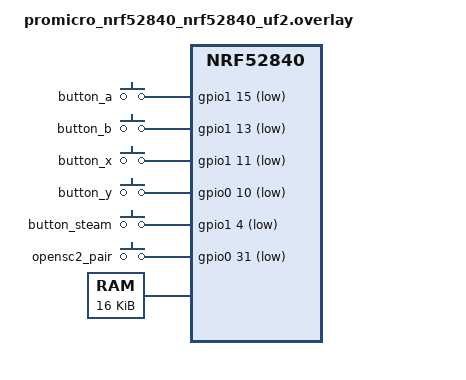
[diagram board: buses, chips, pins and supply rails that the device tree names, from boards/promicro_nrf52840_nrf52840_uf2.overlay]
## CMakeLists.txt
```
# Copyright (c) 2026 the OpenSC2-Controller authors
# SPDX-License-Identifier: MIT
cmake_minimum_required(VERSION 3.20.0)

# The OpenSC2 library is a Zephyr module: the OpenSC2-Controller repository. This project finds it
# in one of these places:
#  1. your west workspace, when your west.yml lists it: nothing to do here;
#  2. ZEPHYR_EXTRA_MODULES, in the environment or as -DZEPHYR_EXTRA_MODULES=<folder>;
#  3. a git submodule (or a copy) at modules/opensc2 in this folder;
#  4. the OpenSC2-Controller repository around this folder (template/ as shipped).
# docs/integration.md in the OpenSC2-Controller repository explains each way. A module found
# twice is harmless (Zephyr keys modules by name).
if(EXISTS ${CMAKE_CURRENT_LIST_DIR}/modules/opensc2/zephyr/module.yml)
  list(APPEND ZEPHYR_EXTRA_MODULES ${CMAKE_CURRENT_LIST_DIR}/modules/opensc2)
elseif(EXISTS ${CMAKE_CURRENT_LIST_DIR}/../zephyr/module.yml AND
       EXISTS ${CMAKE_CURRENT_LIST_DIR}/../include/opensc2/opensc2.h)
  list(APPEND ZEPHYR_EXTRA_MODULES ${CMAKE_CURRENT_LIST_DIR}/..)
endif()

find_package(Zephyr REQUIRED HINTS $ENV{ZEPHYR_BASE})
# Rename the project if you like; the build names the .uf2's folder after this folder, not after
# the project.
project(my_controller LANGUAGES C)

target_sources(app PRIVATE src/main.c)
```

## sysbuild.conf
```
# Copyright (c) 2026 the OpenSC2-Controller authors
# SPDX-License-Identifier: MIT
#
# The Partition Manager (the nRF Connect SDK's default for nRF chips) would ignore the board's flash
# partitions: the application would not land at the UF2 bootloader's application address, and the
# settings could end up inside the bootloader. Use the devicetree partitions.
SB_CONFIG_PARTITION_MANAGER=n
```

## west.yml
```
# Your project as a west workspace with nRF Connect SDK v3.4.0 and OpenSC2.
# From the folder that holds this project (here my-controller):
#   west init -l my-controller
#   west update -o=--depth=1 -n
#   west build -b promicro_nrf52840/nrf52840/uf2 -d build/my-controller my-controller
# Set self.path to your folder's name.
manifest:
  remotes:
    - name: ncs
      url-base: https://github.com/nrfconnect
    - name: ded811
      url-base: https://github.com/ded811
  projects:
    - name: nrf
      repo-path: sdk-nrf
      remote: ncs
      revision: v3.4.0
      import: true
    - name: opensc2
      repo-path: OpenSC2-Controller
      remote: ded811
      revision: v0.2.0   # a release tag; the repository's releases page lists the newest
      path: modules/lib/opensc2
  self:
    path: my-controller
```

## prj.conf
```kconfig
# Copyright (c) 2026 the OpenSC2-Controller authors
# SPDX-License-Identifier: MIT
#
# The Kconfig of your controller, for any board. Lines for one board go in boards/<board>.conf
# (the SuperMini's: its clock), its pins in boards/<board>.overlay. Every OpenSC2 option is in
# docs/api.md of the OpenSC2-Controller repository (Kconfig options).

# ---- the library ------------------------------------------------------------------------------
# OpenSC2 itself. It selects the nRF Connect SDK's Enhanced ShockBurst, the puck's radio link.
CONFIG_OPENSC2=y
# The puck sends packets of up to 128 bytes (checked at build time); the real controller keeps two
# replies queued.
CONFIG_ESB_MAX_PAYLOAD_LENGTH=128
CONFIG_ESB_TX_FIFO_SIZE=2

# ---- inputs -----------------------------------------------------------------------------------
# The buttons are a gpio-keys node in the overlay, read through Zephyr's input subsystem.
CONFIG_GPIO=y
CONFIG_INPUT=y

# ---- wired mode: the board as a USB Steam Controller 2 (28DE:1302) ------------------------------
# On by itself when the overlay chooses the HID node (opensc2,usb-hid). The library runs the USB
# device, so the board's own serial port must not start at boot (checked at build time); in
# wireless mode the library shows the serial console instead.
CONFIG_CDC_ACM_SERIAL_INITIALIZE_AT_BOOT=n
# Eight input reports may wait for the PC at once, as on the real controller.
CONFIG_USBD_HID_IN_BUF_COUNT=8
# Vendor commands that write flash (Steam's bond) run in the USB stack's thread (checked at build
# time); the library's other wired-mode work runs in the system work queue.
CONFIG_USBD_THREAD_STACK_SIZE=2048
CONFIG_SYSTEM_WORKQUEUE_STACK_SIZE=2048

# ---- storage: the bonds, the identity and the mode policy survive a reboot ----------------------
# Zephyr settings on NVS, in the board's storage partition. Steam pairs the board over the cable
# and then reboots it into wireless mode: without these lines the pairing is lost on the way (the
# build warns).
CONFIG_FLASH=y
CONFIG_FLASH_MAP=y
CONFIG_NVS=y
CONFIG_SETTINGS=y
CONFIG_SETTINGS_NVS=y

# ---- log and shell ------------------------------------------------------------------------------
# In wireless mode both are on the USB serial port ("OpenSC2 console"): opensc2 status, opensc2
# bonds and the other opensc2 commands. While wired the log goes into the USB session log, written
# by the log thread, which then needs more than its default stack (checked at build time).
CONFIG_LOG=y
CONFIG_LOG_PROCESS_THREAD_STACK_SIZE=1536
CONFIG_SHELL=y
CONFIG_LOG_BACKEND_UART=n
CONFIG_SHELL_PROMPT_UART="opensc2:~$ "

# ---- main ---------------------------------------------------------------------------------------
# main() keeps running (it drives the status LED): give it room, and a priority below the
# library's radio and USB threads (5).
CONFIG_MAIN_STACK_SIZE=2048
CONFIG_MAIN_THREAD_PRIORITY=7

# ---- identity (optional) ------------------------------------------------------------------------
# What Steam reads as the firmware revision: 1 to 12 characters, no spaces. The default is the
# library's release ("osc2-X.Y.Z").
#CONFIG_OPENSC2_GIT_REVISION="my-ctrl-1.0"

# ---- hardware test hooks (optional) -------------------------------------------------------------
# For OpenSC2's hardware test suite (tools/hwtest). The suite was written for and run against
# app/; with the hooks it may work with your firmware too, not tried. Inert until the suite arms
# them; leave them off in a board you give to someone else.
#CONFIG_OPENSC2_TEST_HOOKS=y
```

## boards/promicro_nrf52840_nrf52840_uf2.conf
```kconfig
# Copyright (c) 2026 the OpenSC2-Controller authors
# SPDX-License-Identifier: MIT
#
# SuperMini / Pro Micro nRF52840: no 32.768 kHz crystal, so the internal RC oscillator, calibrated.
# Zephyr reads this file after prj.conf when it builds for this board target; for another board,
# give it a file named after that board target (or none).
CONFIG_CLOCK_CONTROL_NRF_K32SRC_RC=y
CONFIG_CLOCK_CONTROL_NRF_K32SRC_RC_CALIBRATION=y
```

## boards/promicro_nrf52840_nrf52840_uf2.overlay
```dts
/*
 * Copyright (c) 2026 the OpenSC2-Controller authors
 * SPDX-License-Identifier: MIT
 *
 * Your controller's pins on the SuperMini nRF52840 (a Pro Micro-sized board with the nice!nano
 * pinout and the Adafruit nRF52 UF2 bootloader). Zephyr reads this file when it builds for the
 * board target promicro_nrf52840/nrf52840/uf2. For another board, copy it to
 * boards/<board target with / turned into _>.overlay and change the pins (docs/porting.md).
 *
 * The buttons use the same pins as app/, so wiring carries over. Wire each button between its pin
 * and GND: the internal pull-up keeps it released. Silkscreen labels: "006" is P0.06, "111" is
 * P1.11, and so on. The on-board LED (led0, P0.15) is the status LED (src/main.c).
 */
#include <dt-bindings/opensc2/inputs.h>

/ {
	/* ---- Buttons ----------------------------------------------------------------------------
	 * Read through Zephyr's input subsystem (gpio-keys). zephyr,code is the bit of the Steam
	 * Controller 2's button word that the button sets (OPENSC2_KEY_* in
	 * dt-bindings/opensc2/inputs.h); src/main.c turns each event into that bit. Add a child for
	 * another button, delete one you do not wire.
	 */
	opensc2_buttons: opensc2_buttons {
		compatible = "gpio-keys";
		debounce-interval-ms = <5>;

		button_a {
			gpios = <&gpio1 15 (GPIO_PULL_UP | GPIO_ACTIVE_LOW)>;   /* P1.15 */
			zephyr,code = <OPENSC2_KEY_A>;
		};
		button_b {
			gpios = <&gpio1 13 (GPIO_PULL_UP | GPIO_ACTIVE_LOW)>;   /* P1.13 */
			zephyr,code = <OPENSC2_KEY_B>;
		};
		button_x {
			gpios = <&gpio1 11 (GPIO_PULL_UP | GPIO_ACTIVE_LOW)>;   /* P1.11 */
			zephyr,code = <OPENSC2_KEY_X>;
		};
		button_y {
			gpios = <&gpio0 10 (GPIO_PULL_UP | GPIO_ACTIVE_LOW)>;   /* P0.10 */
			zephyr,code = <OPENSC2_KEY_Y>;
		};
		button_steam {
			gpios = <&gpio1 4 (GPIO_PULL_UP | GPIO_ACTIVE_LOW)>;    /* P1.04 */
			zephyr,code = <OPENSC2_KEY_STEAM>;
		};

		/* The pairing button. Held while plugging in: this boot is wireless. Pressed and
		 * released while wired: the board reboots into wireless mode. Pressed while
		 * wireless: it answers an open pairing window (untested with Steam).
		 * OPENSC2_KEY_PAIR is not a bit of the button word; src/main.c handles it, and
		 * finds the pin by its label. */
		opensc2_pair: pair {
			gpios = <&gpio0 31 (GPIO_PULL_UP | GPIO_ACTIVE_LOW)>;   /* P0.31 */
			zephyr,code = <OPENSC2_KEY_PAIR>;
		};

		/* A digital trigger: a button with OPENSC2_KEY_RIGHT_TRIGGER_CLICK (or _LEFT_)
		 * reads as that trigger pulled all the way (src/main.c). For example, on the
		 * bottom pad P1.01:
		 * trigger_r {
		 *	gpios = <&gpio1 1 (GPIO_PULL_UP | GPIO_ACTIVE_LOW)>;
		 *	zephyr,code = <OPENSC2_KEY_RIGHT_TRIGGER_CLICK>;
		 * };
		 * Sticks, analog triggers, trackpads, an IMU, rumble and an RGB LED: app/'s
		 * overlay and the samples show each part. Buttons need no VCC; potentiometers
		 * powered from the VCC pin do (app/'s overlay, vcc-enable-gpios).
		 */
	};

	/* ---- Wired mode -------------------------------------------------------------------------
	 * The USB HID function of the wired Steam Controller 2 (64-byte reports, every 1 ms), and
	 * 16 KB of RAM that a soft reset keeps (the warm-restart mark of Steam's "reboot into
	 * wireless mode", the USB session log), clear of the RAM the UF2 bootloader uses at every
	 * reset (docs/porting.md). The address is the SuperMini's choice: on another board, keep
	 * the region clear of its bootloader's RAM.
	 */
	chosen {
		opensc2,usb-hid = &opensc2_hid;
		opensc2,retained-ram = &opensc2_retained;
	};

	opensc2_hid: opensc2_hid {
		compatible = "zephyr,hid-device";
		in-report-size = <64>;
		in-polling-period-us = <1000>;
		out-report-size = <64>;
		out-polling-period-us = <1000>;
	};

	opensc2_retained: memory@2002c000 {
		compatible = "zephyr,memory-region", "mmio-sram";
		reg = <0x2002c000 DT_SIZE_K(16)>;
		zephyr,memory-region = "OPENSC2_RETAINED";
	};
};

/* The application's RAM ends below the retained area (176 KB of the 256; the top 64 KB stay
 * unused). */
&sram0 {
	reg = <0x20000000 DT_SIZE_K(176)>;
};

/* The board's files turn these on, on pins this overlay uses: uart0 on P0.09 and P0.10 (Y), i2c1
 * on P1.04 (STEAM) and P1.06, pwm0 on the LED pin P0.15, and i2c0 (P1.00, P0.11) and spi2 (P1.01,
 * P1.02, P1.07) on pins app/ gives to buttons. Switched off, every pin is free for buttons;
 * re-enable what you use, on pins of your choice. The log and the shell are on the USB serial
 * port (in wireless mode). */
&uart0 { status = "disabled"; };
&i2c0 { status = "disabled"; };
&i2c1 { status = "disabled"; };
&spi2 { status = "disabled"; };
&pwm0 { status = "disabled"; };

/* Button edges through the GPIO sense mechanism instead of GPIOTE channels: the nRF52840 has only
 * eight GPIOTE channels, and gpio-keys fails on a ninth button (-ENOMEM). Sense detection has no
 * such limit, so buttons can be added freely. */
&gpio0 { sense-edge-mask = <0xffffffff>; };
&gpio1 { sense-edge-mask = <0xffff>; };
```

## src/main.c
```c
/*
 * Copyright (c) 2026 the OpenSC2-Controller authors
 * SPDX-License-Identifier: MIT
 *
 * A Steam Controller 2 of your own, on the OpenSC2 library. Start here.
 *
 * The library does the protocols: the USB device that Steam pairs over the cable (wired mode) and
 * the radio link through Valve's puck (wireless mode). This file does the hardware: it hands the
 * buttons of the overlay (boards/<board>.overlay) to the library and shows the state on the
 * board's LED. Every function and callback: docs/api.md in the OpenSC2-Controller repository.
 *
 * Modes, as on the real controller: a boot with USB power is wired. Steam pairs the board with its
 * puck over the cable and reboots it into wireless mode; it then connects through the puck. The
 * pairing button can choose too (pair_button() below).
 */
#include <zephyr/kernel.h>
#include <zephyr/device.h>
#include <zephyr/drivers/gpio.h>
#include <zephyr/input/input.h>
#include <zephyr/logging/log.h>
#include <opensc2/opensc2.h>

LOG_MODULE_REGISTER(my_controller, LOG_LEVEL_INF);

/* The pairing button (labelled opensc2_pair in the overlay) and the status LED (the board's led0).
 * On a board without one of them the spec stays empty, and the code below leaves it alone. */
static const struct gpio_dt_spec pair_pin =
	GPIO_DT_SPEC_GET_OR(DT_NODELABEL(opensc2_pair), gpios, {0});
static const struct gpio_dt_spec led = GPIO_DT_SPEC_GET_OR(DT_ALIAS(led0), gpios, {0});

/* ---- the pairing button ---------------------------------------------------------------------- */

static bool pair_held_at_boot;   /* held at power-up: chose this boot's mode, ignored until up */
static bool pair_pressed;        /* wired: a press was seen, so its release counts */

/* At power-up, before opensc2_init(). gpio-keys has already set the pin up as an input with its
 * pull-up. Read it twice, 5 ms apart: a bouncing contact counts as released. */
static bool pair_pin_held(void)
{
	if (!gpio_is_ready_dt(&pair_pin) || gpio_pin_get_dt(&pair_pin) != 1) {
		return false;
	}
	k_msleep(5);
	return gpio_pin_get_dt(&pair_pin) == 1;
}

static void pair_button(bool pressed)
{
	if (pair_held_at_boot) {
		pair_held_at_boot = pressed;   /* released: a normal button from now on */
		return;
	}
	if (opensc2_mode() == OPENSC2_MODE_WIRED) {
		/* Pressed and released while wired: reboot into wireless mode. Acting on the
		 * release keeps the button up at the next boot, so the warm-restart mark brings
		 * the board back wireless, not a held button. A release without a press (a pin
		 * settling at power-up) does nothing. */
		if (pressed) {
			pair_pressed = true;
		} else if (pair_pressed) {
			pair_pressed = false;
			/* _later: from the system work queue, so this callback returns at once. */
			opensc2_reboot_later(OPENSC2_REBOOT_WIRELESS, "pair button", 0);
		}
	} else if (pressed) {
		/* Wireless: answer a puck whose pairing window is open over the air (untested with
		 * Steam, which pairs controllers over the cable). */
		LOG_INF("Pairing: answering an open pairing window");
		opensc2_pair_start(0);
	}
}

/* ---- buttons ---------------------------------------------------------------------------------
 * Every event of the opensc2_buttons node, in Zephyr's input thread. zephyr,code says what the
 * button is (dt-bindings/opensc2/inputs.h).
 */
static void on_button(struct input_event *evt, void *user_data)
{
	bool pressed = evt->value != 0;

	ARG_UNUSED(user_data);
	if (evt->type != INPUT_EV_KEY) {
		return;
	}
#if !defined(CONFIG_OPENSC2_SYSTEM)
	/* Without the system state machine: after the puck turned the board off (the PC went to
	 * sleep), any button brings it back. With the machine (the default) the real controller's
	 * rules decide instead: on USB power with wireless off, STEAM reboots the board, which comes
	 * back wired, and the other buttons do nothing ('opensc2 start' turns wireless on again). */
	if (pressed && opensc2_mode() == OPENSC2_MODE_WIRELESS &&
	    opensc2_link_state() == OPENSC2_LINK_OFF) {
		opensc2_start();
	}
#endif

	switch (evt->code) {
	case OPENSC2_KEY_PAIR:
		pair_button(pressed);
		break;
	case OPENSC2_KEY_LEFT_TRIGGER_CLICK:
		/* A digital trigger: pressed is the trigger pulled all the way. The library sets
		 * the trigger's click bit from the value (CONFIG_OPENSC2_TRIGGER_CLICK_AUTO). */
		opensc2_set_trigger(OPENSC2_LEFT, pressed ? OPENSC2_TRIGGER_MAX : 0);
		break;
	case OPENSC2_KEY_RIGHT_TRIGGER_CLICK:
		opensc2_set_trigger(OPENSC2_RIGHT, pressed ? OPENSC2_TRIGGER_MAX : 0);
		break;
	default:
		/* Any other code below 32 is a bit of the button word: change just that bit. */
		if (evt->code < 32) {
			opensc2_set_buttons(BIT(evt->code), pressed ? BIT(evt->code) : 0);
		}
		break;
	}
}
INPUT_CALLBACK_DEFINE(DEVICE_DT_GET(DT_NODELABEL(opensc2_buttons)), on_button, NULL);

/* ---- library callbacks -----------------------------------------------------------------------
 * The library calls these from its own threads (the radio thread while wireless, the USB threads
 * while wired). Return quickly, well under a millisecond, and hand anything slow to a thread or a
 * work queue of your own. Every callback is optional.
 */
static void on_link(const struct opensc2_link_info *info, void *user_data)
{
	ARG_UNUSED(user_data);
	if (info->reason == OPENSC2_REASON_PAIRED) {
		/* The API numbers the two pairing slots 0 and 1, the shell 1 and 2. */
		LOG_INF("Paired with a puck (slot %u)", info->slot + 1);
	} else if (info->state == OPENSC2_LINK_OFF &&
		   info->reason == OPENSC2_REASON_PUCK_TURN_OFF) {
		LOG_INF("Turned off by the puck (the PC sleeps): %s",
			IS_ENABLED(CONFIG_OPENSC2_SYSTEM) ?
			"STEAM reboots the board wired; opensc2 start turns wireless on again" :
			"press a button to come back");
	}
}

/* Outputs arrive the same way. A rumble motor, for example (samples/rumble drives one):
 *
 *	static void on_rumble(const struct opensc2_rumble *rumble, void *user_data)
 *	{
 *		my_motor_set(MAX(rumble->left_speed, rumble->right_speed));   (0 stops it)
 *	}
 *
 * with .rumble = on_rumble below. Haptics, the LED colour Steam sets and the controller settings
 * have callbacks too (docs/api.md, Outputs).
 *
 * There is no power_request callback: without one the library carries out the reboots Steam asks
 * for itself (among them Steam's "reboot into wireless mode" after it paired the board over the
 * cable) and ignores Steam's request to enter a bootloader for a firmware update, which the UF2
 * bootloader could not take anyway. Add one to decide yourself; app/src/main.c has a complete one.
 */
static const struct opensc2_callbacks callbacks = {
	.link_changed = on_link,
	/* .rumble = on_rumble, */
};

/* ---- the status LED --------------------------------------------------------------------------
 * Called every 50 ms: on while wired or connected through the puck, a slow blink while looking
 * for the puck, a short blink every 2 s without a pairing, otherwise off.
 */
#define LED_TICK_MS 50

static void show_status(uint32_t tick)
{
	bool on = false;

	if (opensc2_mode() == OPENSC2_MODE_WIRED) {
		on = true;
	} else {
		switch (opensc2_link_state()) {
		case OPENSC2_LINK_CONNECTED:
			on = true;
			break;
		case OPENSC2_LINK_LISTENING:
			on = tick % 20 < 4;    /* 200 ms on, every second */
			break;
		case OPENSC2_LINK_NO_BOND:
			on = tick % 40 == 0;   /* 50 ms on, every 2 s */
			break;
		default:
			break;                 /* pairing over the air, or the radio off */
		}
	}
	gpio_pin_set_dt(&led, on);
}

int main(void)
{
	struct opensc2_config config = {
		.callbacks = &callbacks,
		.bond_slot = OPENSC2_SLOT_STORED,   /* the pairing slot chosen last */
		.start = true,                      /* wireless: start the radio at once */
		/* .identity stays NULL: the Kconfig identity, with development serials ("OSC...")
		 * made from the chip's ID. */
	};
	bool have_led = gpio_is_ready_dt(&led) &&
			gpio_pin_configure_dt(&led, GPIO_OUTPUT_INACTIVE) == 0;
	int err;

	/* Held at power-up, the pairing button makes this boot wireless, even on USB power. */
	if (pair_pin_held()) {
		LOG_INF("Pairing button held at power-up: wireless this time");
		pair_held_at_boot = true;
		config.boot_mode = OPENSC2_BOOT_WIRELESS;
	}

	/* Load the bonds and the identity, decide this boot's mode, then start the USB device
	 * (wired) or the radio (wireless). */
	err = opensc2_init(&config);
	if (err) {
		/* For example -EINVAL for an invalid identity. The serial console still starts, so
		 * this message can be read there. */
		LOG_ERR("opensc2_init failed (%d)", err);
		return err;
	}
	LOG_INF("Started %s", opensc2_mode() == OPENSC2_MODE_WIRED ? "wired" : "wireless");

	for (uint32_t tick = 0;; tick++) {
		if (have_led) {
			show_status(tick);
		}
		k_msleep(LED_TICK_MS);
	}
	return 0;
}
```
